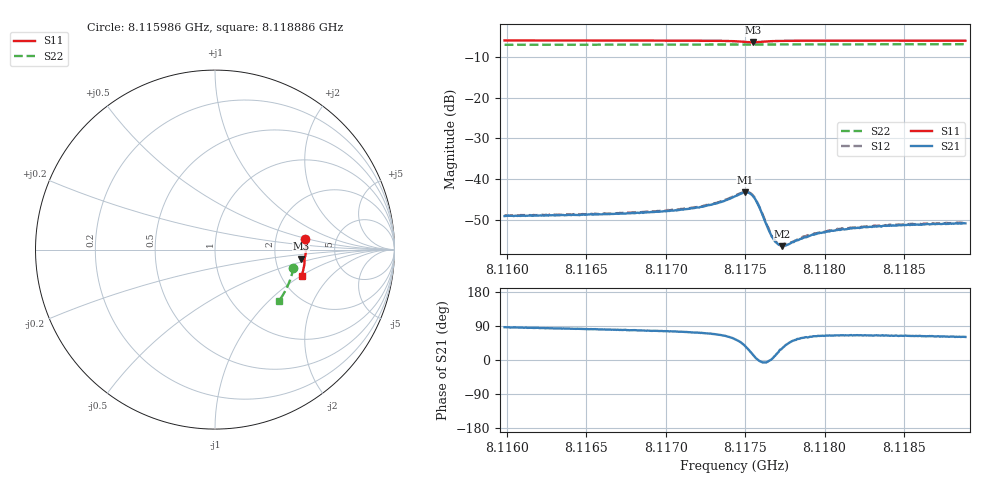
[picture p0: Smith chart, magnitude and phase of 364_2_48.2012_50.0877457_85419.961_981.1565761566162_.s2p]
#  HZ  S  RI  R  50.00
! Rohde & Schwarz Vector Network Analyzer
! Rohde-Schwarz,ZNB20-2Port,1311601062101988,3.16
! Created: UTC 3/20/2024, 11:52:19 AM
! freq[Hz]  re:S11  im:S11  re:S21  im:S21  re:S12  im:S12  re:S22  im:S22
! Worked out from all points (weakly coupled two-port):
!   401 points, 8.115986 GHz to 8.118886 GHz, reference 50 ohm
!   highest |S21| = -43.34 dB at 8.117502 GHz (marker M1); lowest = -56.6 dB at 8.117734 GHz (marker M2)
!   lowest |S11| = -6.4 dB at 8.117552 GHz (marker M3), VSWR 2.86, Z = 140 - j18.3 ohm
!   |S11| at or under -10 dB: nowhere
!   |S22| runs from -7.0 to -6.8 dB; largest |S21 - S12| = 0.00018
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8.1159864e9  0.5039 0.0592  0.000207 0.00348  0.000284 0.00353  0.4373 -0.1002
8.1164722e9  0.5063 0.0226  0.000487 0.0036  0.00057 0.00363  0.4297 -0.1332
8.1169579e9  0.5056 -0.0146  0.000925 0.00383  0.000974 0.00389  0.4198 -0.1654
8.1170812e9  0.5046 -0.0245  0.00109 0.004  0.00115 0.00407  0.4169 -0.1736
8.1172334e9  0.5028 -0.0377  0.00147 0.00431  0.00152 0.00437  0.4129 -0.1835
8.1173277e9  0.5004 -0.0464  0.00196 0.00466  0.00205 0.00471  0.4104 -0.1897
8.1174364e9  0.4931 -0.057  0.00351 0.00501  0.0036 0.00503  0.4071 -0.1967
8.1175017e9  0.4829 -0.0587  0.00549 0.00402  0.00565 0.00406  0.4048 -0.2006
8.1175307e9  0.479 -0.0548  0.00609 0.00259  0.00623 0.00258  0.404 -0.2021
8.1175524e9  0.4786 -0.0502  0.00592 0.00127  0.00603 0.00122  0.4034 -0.2033
8.1175814e9  0.4825 -0.0458  0.00484 3.6e-06  0.00493 -8.08e-05  0.4029 -0.2047
8.1176539e9  0.4938 -0.0488  0.00224 -5.28e-05  0.00228 -0.000109  0.4014 -0.2094
8.1176757e9  0.4957 -0.0513  0.00186 0.000171  0.00188 0.000167  0.4005 -0.2108
8.1176974e9  0.4969 -0.0539  0.00158 0.000437  0.00162 0.000407  0.4001 -0.2122
8.1177119e9  0.4975 -0.0556  0.00143 0.000584  0.00146 0.000578  0.3995 -0.2134
8.1177337e9  0.4982 -0.058  0.00127 0.000765  0.00133 0.000804  0.3989 -0.2146
8.1177699e9  0.4988 -0.062  0.00114 0.00107  0.00117 0.00108  0.3979 -0.217
8.1178787e9  0.4989 -0.0724  0.000954 0.00166  0.00097 0.00168  0.3944 -0.2238
8.1179222e9  0.4986 -0.0762  0.000977 0.00181  0.000989 0.00183  0.3931 -0.2267
8.1180962e9  0.4966 -0.0904  0.00099 0.00213  0.00105 0.00219  0.3872 -0.2374
8.118408e9  0.4916 -0.1144  0.00115 0.00238  0.00124 0.00244  0.3763 -0.2564
8.1188865e9  0.482 -0.149  0.00138 0.00248  0.00143 0.00251  0.3573 -0.2843
